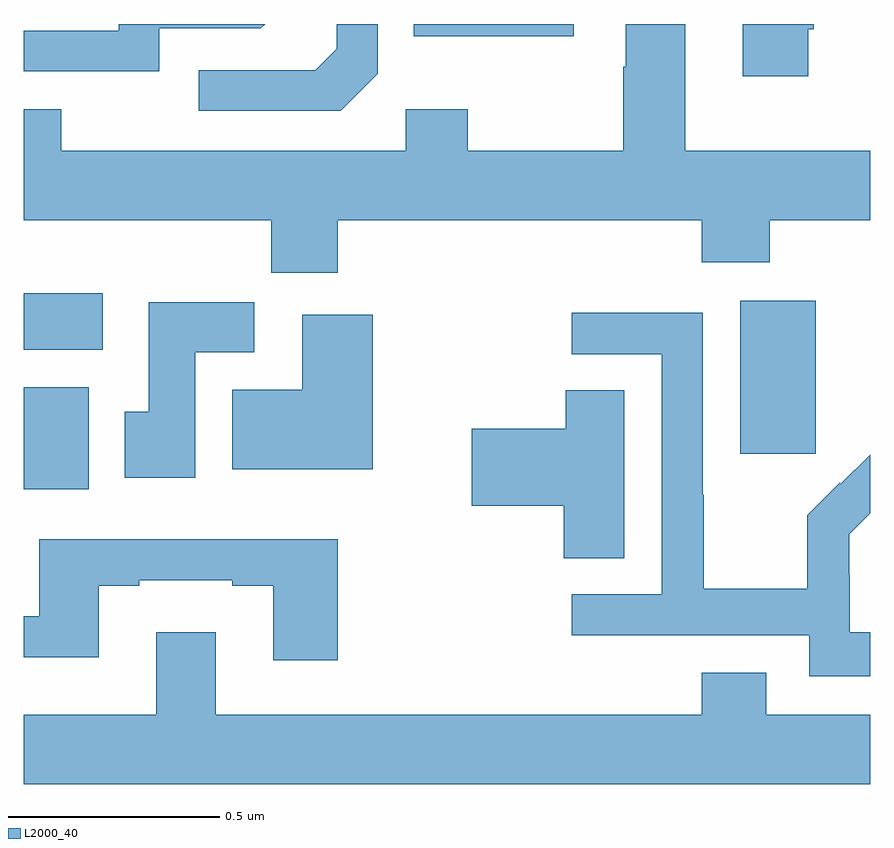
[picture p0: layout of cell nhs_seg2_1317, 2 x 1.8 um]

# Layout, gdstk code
import gdstk
lib = gdstk.Library(unit=1e-6, precision=1e-09)
def R(c, l, rs):  # rectangles x0, y0, x1, y1
    for r in rs: c.add(gdstk.rectangle(r[:2], r[2:], *l))
def P(c, l, *ps):  # polygons
    for p in ps: c.add(gdstk.Polygon(p, *l))
L2000_40 = (2000, 40)

nhs_seg2_1317 = lib.new_cell('nhs_seg2_1317')
R(nhs_seg2_1317, L2000_40, [(127,613.7,127.153,613.942), (128.693,613.785,128.872,614.146), (127,614.03,127.186,614.164), (127.921,614.771,128.299,614.8)])
P(nhs_seg2_1317, L2000_40, [(127.742,614.336),(128.602,614.336),(128.602,614.237),(128.763,614.237),(128.763,614.336),(129,614.336),(129,614.5),(128.563,614.5),(128.563,614.8),(128.423,614.8),(128.423,614.699),(128.416,614.699),(128.416,614.5),(128.049,614.5),(128.049,614.599),(127.902,614.599),(127.902,614.5),(127.089,614.5),(127.089,614.599),(127,614.599),(127,614.336),(127.585,614.336),(127.585,614.212),(127.742,614.212)],
  [(127.32,614.79),(127.56,614.79),(127.57,614.8),(127.224,614.8),(127.224,614.784),(127,614.784),(127,614.688),(127.32,614.688)],
  [(127.836,614.682),(127.836,614.8),(127.74,614.8),(127.74,614.742),(127.689,614.691),(127.413,614.691),(127.413,614.595),(127.749,614.595)],
  [(128.854,614.788),(128.867,614.788),(128.867,614.8),(128.699,614.8),(128.699,614.676),(128.854,614.676)],
  [(127.405,614.024),(127.544,614.024),(127.544,614.143),(127.295,614.143),(127.295,613.884),(127.238,613.884),(127.238,613.728),(127.405,613.728)],
  [(129,613.363),(128.952,613.363),(128.952,613.497),(128.95,613.497),(128.95,613.594),(129,613.644),(129,613.782),(128.931,613.713),(128.928,613.716),(128.851,613.639),(128.851,613.465),(128.607,613.465),(128.607,613.688),(128.604,613.688),(128.604,614.118),(128.295,614.118),(128.295,614.019),(128.508,614.019),(128.508,613.452),(128.295,613.452),(128.295,613.356),(128.856,613.356),(128.856,613.259),(129,613.259)],
  [(127.824,614.113),(127.658,614.113),(127.658,613.936),(127.493,613.936),(127.493,613.748),(127.824,613.748)],
  [(128.419,613.934),(128.281,613.934),(128.281,613.844),(128.058,613.844),(128.058,613.661),(128.276,613.661),(128.276,613.537),(128.419,613.537)],
  [(127.742,613.582),(127.037,613.582),(127.037,613.401),(127,613.401),(127,613.304),(127.177,613.304),(127.177,613.473),(127.273,613.473),(127.273,613.485),(127.493,613.485),(127.493,613.473),(127.589,613.473),(127.589,613.296),(127.742,613.296)],
  [(129,613.168),(128.755,613.168),(128.755,613.267),(128.602,613.267),(128.602,613.168),(127.453,613.168),(127.453,613.363),(127.313,613.363),(127.313,613.168),(127,613.168),(127,613.004),(129,613.004)])

lib.write_gds('nhs_seg2_1317.gds')
